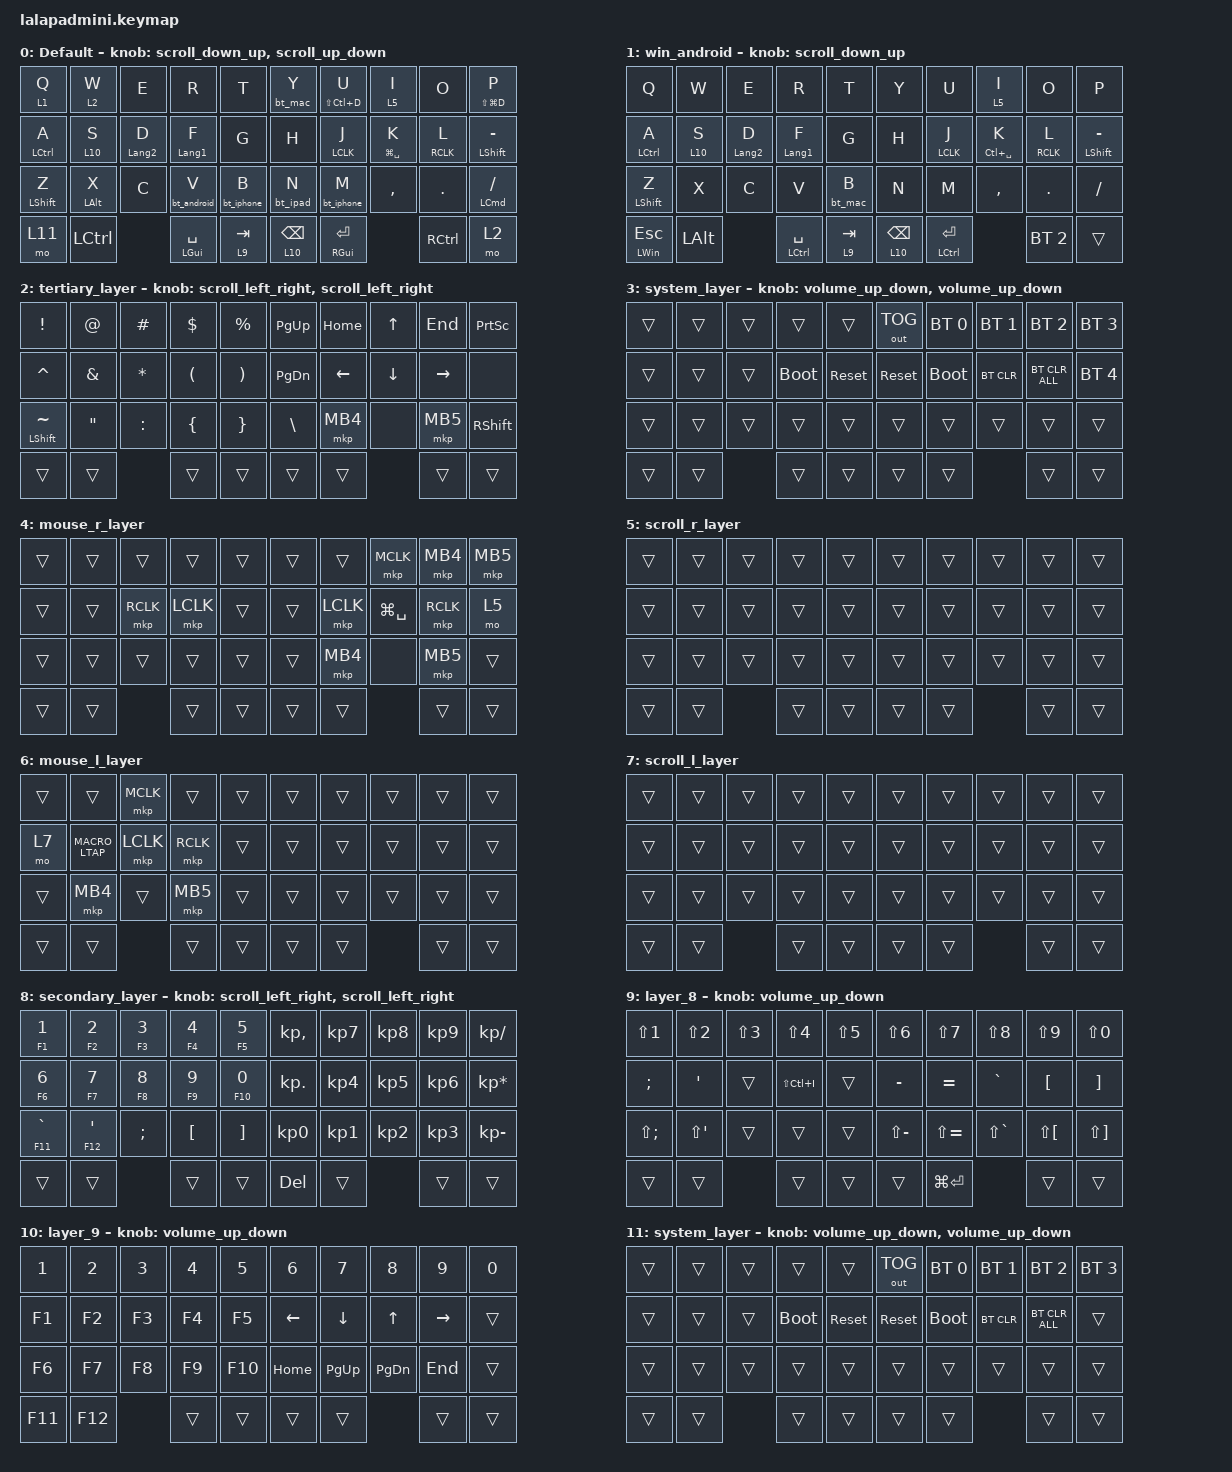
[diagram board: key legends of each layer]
#include <input/processors.dtsi>
#include <behaviors.dtsi>
#include <dt-bindings/zmk/bt.h>
#include <dt-bindings/zmk/keys.h>
#include <dt-bindings/zmk/outputs.h>
#include <dt-bindings/zmk/pointing.h>

#define DEFAULT_LAYER   0
#define SECONDARY_LAYER 1
#define TERTIARY_LAYER  2
#define SYSTEM_LAYER    3
#define MOUSE_R_LAYER   4
#define SCROLL_R_LAYER  5
#define MOUSE_L_LAYER   6
#define SCROLL_L_LAYER  7

// Mouse Scroll Value

#define ZMK_POINTING_DEFAULT_SCRL_VAL 100

// cirque trackpad input&layer control

&glidepoint_listener_R {
    input-processors =
        <&zip_xy_transform (INPUT_TRANSFORM_XY_SWAP | INPUT_TRANSFORM_X_INVERT | INPUT_TRANSFORM_Y_INVERT)>,
        <&zip_xy_scaler 3 2>,
        <&zip_temp_layer MOUSE_R_LAYER 300>;

    lowspeedmode {
        layers = <SECONDARY_LAYER>;
        input-processors =
            <&zip_xy_transform (INPUT_TRANSFORM_XY_SWAP | INPUT_TRANSFORM_X_INVERT | INPUT_TRANSFORM_Y_INVERT)>,
            <&zip_xy_scaler 3 5>,
            <&zip_temp_layer MOUSE_R_LAYER 300>;
    };

    scroller {
        layers = <SCROLL_R_LAYER>;
        input-processors =
            <&zip_xy_to_scroll_mapper>,
            <&zip_scroll_transform (INPUT_TRANSFORM_XY_SWAP | INPUT_TRANSFORM_Y_INVERT)>,
            <&zip_scroll_scaler 1 32>;
    };
};

&glidepoint_listener_L {
    input-processors =
        <&zip_xy_transform (INPUT_TRANSFORM_XY_SWAP | INPUT_TRANSFORM_X_INVERT | INPUT_TRANSFORM_Y_INVERT)>,
        <&zip_xy_scaler 3 2>,
        <&zip_temp_layer MOUSE_L_LAYER 300>;

    lowspeedmode {
        layers = <TERTIARY_LAYER>;
        input-processors =
            <&zip_xy_transform (INPUT_TRANSFORM_XY_SWAP | INPUT_TRANSFORM_X_INVERT | INPUT_TRANSFORM_Y_INVERT)>,
            <&zip_xy_scaler 3 4>,
            <&zip_temp_layer MOUSE_L_LAYER 300>;
    };

    scroller {
        layers = <SCROLL_L_LAYER>;
        input-processors =
            <&zip_xy_to_scroll_mapper>,
            <&zip_scroll_transform (INPUT_TRANSFORM_XY_SWAP | INPUT_TRANSFORM_Y_INVERT)>,
            <&zip_scroll_scaler 1 32>;
    };
};

&mt { quick-tap-ms = <200>; };

&lt { quick-tap-ms = <200>; };

/ {
    behaviors {
        // Encoder to Mouse Scroll

        scroll_up_down: behavior_sensor_rotate_mouse_wheel_up_down {
            compatible = "zmk,behavior-sensor-rotate";
            #sensor-binding-cells = <0>;
            bindings = <&msc SCRL_UP>, <&msc SCRL_DOWN>;

            tap-ms = <20>;
        };

        scroll_down_up: behavior_sensor_rotate_mouse_wheel_down_up {
            compatible = "zmk,behavior-sensor-rotate";
            #sensor-binding-cells = <0>;
            bindings = <&msc SCRL_DOWN>, <&msc SCRL_UP>;

            tap-ms = <20>;
        };

        scroll_left_right: behavior_sensor_rotate_mouse_wheel_left_right {
            compatible = "zmk,behavior-sensor-rotate";
            #sensor-binding-cells = <0>;
            bindings = <&msc SCRL_LEFT>, <&msc SCRL_RIGHT>;

            tap-ms = <20>;
        };

        scroll_right_left: behavior_sensor_rotate_mouse_wheel_right_left {
            compatible = "zmk,behavior-sensor-rotate";
            #sensor-binding-cells = <0>;
            bindings = <&msc SCRL_RIGHT>, <&msc SCRL_LEFT>;

            tap-ms = <20>;
        };

        volume_up_down: behavior_sensor_rotate_volume_up_down {
            compatible = "zmk,behavior-sensor-rotate";
            #sensor-binding-cells = <0>;
            bindings = <&kp C_VOLUME_UP>, <&kp C_VOLUME_DOWN>;

            tap-ms = <20>;
        };

        mt2: mod_tap2 {
            compatible = "zmk,behavior-hold-tap";
            #binding-cells = <2>;
            flavor = "tap-preferred";
            tapping-term-ms = <200>;
            quick-tap-ms = <200>;
            require-prior-idle-ms = <125>;
            bindings = <&kp>, <&kp>;
        };

        tap_dance_layer_1and2: tap_dance_layer_1and2 {
            compatible = "zmk,behavior-tap-dance";
            label = "td_mo12";
            #binding-cells = <0>;
            bindings = <&mo 9>, <&mo 2>;
        };

        mkp2: mkp2 {
            compatible = "zmk,behavior-hold-tap";
            #binding-cells = <2>;
            flavor = "tap-preferred";
            tapping-term-ms = <200>;
            quick-tap-ms = <200>;
            require-prior-idle-ms = <125>;
            bindings = <&mkp>, <&kp>;

            label = "MKP2";
        };

        volume: volume {
            compatible = "zmk,behavior-sensor-rotate";
            label = "VOLUME";
            #sensor-binding-cells = <0>;
            bindings = <&kp C_VOL_DN>, <&kp C_VOLUME_UP>;

            tap-ms = <20>;
        };

        bt_kp_mac: bt_kp_mac {
            compatible = "zmk,behavior-hold-tap";
            #binding-cells = <2>;
            flavor = "tap-preferred";
            tapping-term-ms = <200>;
            quick-tap-ms = <200>;
            require-prior-idle-ms = <125>;
            bindings = <&bt_mac>, <&kp>;

            label = "BT_KP_MAC";
        };

        bt_kp_win: bt_kp_win {
            compatible = "zmk,behavior-hold-tap";
            #binding-cells = <2>;
            flavor = "tap-preferred";
            tapping-term-ms = <200>;
            quick-tap-ms = <200>;
            require-prior-idle-ms = <125>;
            bindings = <&bt_iphone>, <&kp>;

            label = "BT_KP_WIN";
        };

        bt_kp_and: bt_kp_and {
            compatible = "zmk,behavior-hold-tap";
            #binding-cells = <2>;
            flavor = "tap-preferred";
            tapping-term-ms = <200>;
            quick-tap-ms = <200>;
            require-prior-idle-ms = <125>;
            bindings = <&bt_android>, <&kp>;

            label = "BT_KP_AND";
        };

        nob_page: nob_page {
            compatible = "zmk,behavior-sensor-rotate";
            #sensor-binding-cells = <0>;
            bindings = <&kp PAGE_UP>, <&kp PAGE_DOWN>;

            tap-ms = <20>;
            label = "NOB_PAGE";
        };

        bt_kp_iphone: bt_kp_iphone {
            compatible = "zmk,behavior-hold-tap";
            #binding-cells = <2>;
            flavor = "tap-preferred";
            tapping-term-ms = <200>;
            quick-tap-ms = <200>;
            require-prior-idle-ms = <125>;
            bindings = <&bt_iphone>, <&kp>;

            label = "BT_KP_IPHONE";
        };

        bt_kp_ipad: bt_kp_ipad {
            compatible = "zmk,behavior-hold-tap";
            #binding-cells = <2>;
            flavor = "tap-preferred";
            tapping-term-ms = <200>;
            quick-tap-ms = <200>;
            require-prior-idle-ms = <125>;
            bindings = <&bt_ipad>, <&kp>;

            label = "BT_KP_IPAD";
        };
    };

    combos {
        compatible = "zmk,combos";

        CONBO_ESC {
            bindings = <&kp ESCAPE>;
            key-positions = <0 1>;
        };

        COMBO_TAB {
            bindings = <&kp TAB>;
            key-positions = <10 11>;
        };

        COMBO_WIN {
            bindings = <&kp LWIN>;
            key-positions = <30 31>;
        };

        drag {
            bindings = <&kp LS(LC(D))>;
            key-positions = <35 34>;
        };
    };

    macros {
        MACRO_LTAP: MACRO_LTAP {
            compatible = "zmk,behavior-macro";
            #binding-cells = <0>;
            bindings = <&mkp LCLK>;
            label = "MACRO_LTAP";
        };

        bt_mac: bt_mac {
            compatible = "zmk,behavior-macro";
            #binding-cells = <0>;
            bindings = <&bt BT_SEL 0 &to 0>;
            label = "BT_MAC";
        };

        bt_iphone: bt_win {
            compatible = "zmk,behavior-macro";
            #binding-cells = <0>;
            bindings = <&bt BT_SEL 2 &to 0>;
            label = "BT_WIN";
        };

        bt_android: bt_android {
            compatible = "zmk,behavior-macro";
            #binding-cells = <0>;
            bindings = <&bt BT_SEL 3 &to 1>;
            label = "BT_ANDROID";
        };

        bt_ipad: bt_ipad {
            compatible = "zmk,behavior-macro";
            #binding-cells = <0>;
            bindings = <&bt BT_SEL 1 &to 0>;
            label = "BT_IPAD";
        };
    };

    keymap {
        compatible = "zmk,keymap";

        DEFAULT_LAYER {
            display-name = "Default";
            sensor-bindings = <&scroll_down_up>, <&scroll_up_down>;

            bindings = <
&lt 1 Q            &lt 2 W          &kp E              &kp R                &kp T           &bt_kp_mac 0 Y    &mt2 LS(LC(D)) U      &lt 5 I           &kp O         &mt2 LS(LG(D)) P
&mt2 LCTRL A       &lt 10 S         &mt2 LANGUAGE_2 D  &mt2 LANGUAGE_1 F    &kp G           &kp H             &mkp2 LCLK J          &mt2 LG(SPACE) K  &mkp2 RCLK L  &mt2 LEFT_SHIFT MINUS
&mt2 LEFT_SHIFT Z  &mt2 LEFT_ALT X  &kp C              &bt_kp_and 0 V       &bt_kp_win 0 B  &bt_kp_ipad 0 N   &bt_kp_iphone 0 M     &kp COMMA         &kp PERIOD    &mt LCMD SLASH
&mo 11             &kp LCTRL                           &mt2 LEFT_GUI SPACE  &lt 9 TAB       &lt 10 BACKSPACE  &mt2 RIGHT_GUI ENTER                    &kp RCTRL     &mo 2
            >;
        };

        win_android {
            bindings = <
&kp Q                 &kp W     &kp E              &kp R                    &kp T           &kp Y             &kp U             &lt 5 I           &kp O         &kp P
&mt2 LCTRL A          &lt 10 S  &mt2 LANGUAGE_2 D  &mt2 LANGUAGE_1 F        &kp G           &kp H             &mkp2 LCLK J      &mt2 LC(SPACE) K  &mkp2 RCLK L  &mt2 LEFT_SHIFT MINUS
&mt2 LEFT_SHIFT Z     &kp X     &kp C              &kp V                    &bt_kp_mac 0 B  &kp N             &kp M             &kp COMMA         &kp DOT       &kp FSLH
&mt2 LEFT_WIN ESCAPE  &kp LALT                     &mt2 LEFT_CONTROL SPACE  &lt 9 TAB       &lt 10 BACKSPACE  &mt2 LCTRL ENTER                    &bt BT_SEL 2  &trans
            >;

            sensor-bindings = <&scroll_down_up>;
        };

        TERTIARY_LAYER {
            display-name = "tertiary_layer";
            bindings = <
&kp EXCLAMATION       &kp AT_SIGN        &kp HASH      &kp DOLLAR            &kp PERCENT            &kp PAGE_UP    &kp HOME  &kp UP_ARROW  &kp END    &kp PRINTSCREEN
&kp CARET             &kp AMPERSAND      &kp ASTERISK  &kp LEFT_PARENTHESIS  &kp RIGHT_PARENTHESIS  &kp PAGE_DOWN  &kp LEFT  &kp DOWN      &kp RIGHT  &none
&mt LEFT_SHIFT TILDE  &kp DOUBLE_QUOTES  &kp COLON     &kp LEFT_BRACE        &kp RIGHT_BRACE        &kp BACKSLASH  &mkp MB4  &none         &mkp MB5   &kp RIGHT_SHIFT
&trans                &trans                           &trans                &trans                 &trans         &trans                  &trans     &trans
            >;

            sensor-bindings = <&scroll_left_right>, <&scroll_left_right>;
        };

        SYSTEM_LAYER {
            display-name = "system_layer";
            sensor-bindings = <&volume_up_down>, <&volume_up_down>;

            bindings = <
&trans  &trans  &trans  &trans       &trans      &out OUT_TOG  &bt BT_SEL 0  &bt BT_SEL 1  &bt BT_SEL 2    &bt BT_SEL 3
&trans  &trans  &trans  &bootloader  &sys_reset  &sys_reset    &bootloader   &bt BT_CLR    &bt BT_CLR_ALL  &bt BT_SEL 4
&trans  &trans  &trans  &trans       &trans      &trans        &trans        &trans        &trans          &trans
&trans  &trans          &trans       &trans      &trans        &trans                      &trans          &trans
            >;
        };

        MOUSE_R_LAYER {
            display-name = "mouse_r_layer";
            bindings = <
&trans  &trans  &trans     &trans     &trans  &trans  &trans     &mkp MCLK      &mkp MB4   &mkp MB5
&trans  &trans  &mkp RCLK  &mkp LCLK  &trans  &trans  &mkp LCLK  &kp LG(SPACE)  &mkp RCLK  &mo 5
&trans  &trans  &trans     &trans     &trans  &trans  &mkp MB4   &none          &mkp MB5   &trans
&trans  &trans             &trans     &trans  &trans  &trans                    &trans     &trans
            >;
        };

        SCROLL_R_LAYER {
            display-name = "scroll_r_layer";
            bindings = <
&trans  &trans  &trans  &trans  &trans  &trans  &trans  &trans  &trans  &trans
&trans  &trans  &trans  &trans  &trans  &trans  &trans  &trans  &trans  &trans
&trans  &trans  &trans  &trans  &trans  &trans  &trans  &trans  &trans  &trans
&trans  &trans          &trans  &trans  &trans  &trans          &trans  &trans
            >;
        };

        MOUSE_L_LAYER {
            display-name = "mouse_l_layer";
            bindings = <
&trans  &trans       &mkp MCLK  &trans     &trans  &trans  &trans  &trans  &trans  &trans
&mo 7   &MACRO_LTAP  &mkp LCLK  &mkp RCLK  &trans  &trans  &trans  &trans  &trans  &trans
&trans  &mkp MB4     &trans     &mkp MB5   &trans  &trans  &trans  &trans  &trans  &trans
&trans  &trans                  &trans     &trans  &trans  &trans          &trans  &trans
            >;
        };

        SCROLL_L_LAYER {
            display-name = "scroll_l_layer";
            bindings = <
&trans  &trans  &trans  &trans  &trans  &trans  &trans  &trans  &trans  &trans
&trans  &trans  &trans  &trans  &trans  &trans  &trans  &trans  &trans  &trans
&trans  &trans  &trans  &trans  &trans  &trans  &trans  &trans  &trans  &trans
&trans  &trans          &trans  &trans  &trans  &trans          &trans  &trans
            >;
        };

        SECONDARY_LAYER {
            display-name = "secondary_layer";
            sensor-bindings = <&scroll_left_right>, <&scroll_left_right>;

            bindings = <
&mt2 F1 NUMBER_1  &mt2 F2 NUMBER_2  &mt2 F3 NUMBER_3  &mt2 F4 NUMBER_4  &mt2 F5 N5         &kp KP_COMMA     &kp KP_NUMBER_7  &kp KP_NUMBER_8  &kp KP_NUMBER_9  &kp KP_DIVIDE
&mt2 F6 NUMBER_6  &mt2 F7 N7        &mt2 F8 N8        &mt2 F9 N9        &mt2 F10 N0        &kp KP_DOT       &kp KP_NUMBER_4  &kp KP_NUMBER_5  &kp KP_NUMBER_6  &kp KP_ASTERISK
&mt2 F11 GRAVE    &mt2 F12 SQT      &kp SEMICOLON     &kp LEFT_BRACKET  &kp RIGHT_BRACKET  &kp KP_NUMBER_0  &kp KP_NUMBER_1  &kp KP_NUMBER_2  &kp KP_NUMBER_3  &kp KP_MINUS
&trans            &trans                              &trans            &trans             &kp DELETE       &trans                            &trans           &trans
            >;
        };

        layer_8 {
            bindings = <
&kp LS(N1)    &kp LS(N2)    &kp LS(N3)  &kp LS(N4)     &kp LS(N5)  &kp LS(N6)     &kp LS(N7)     &kp LS(N8)     &kp LS(N9)    &kp LS(N0)
&kp SEMI      &kp APOS      &trans      &kp LS(LC(I))  &trans      &kp MINUS      &kp EQUAL      &kp GRAVE      &kp LBKT      &kp RBKT
&kp LS(SEMI)  &kp LS(APOS)  &trans      &trans         &trans      &kp LS(MINUS)  &kp LS(EQUAL)  &kp LS(GRAVE)  &kp LS(LBKT)  &kp LS(RBKT)
&trans        &trans                    &trans         &trans      &trans         &kp LG(ENTER)                 &trans        &trans
            >;

            sensor-bindings = <&volume_up_down>;
        };

        layer_9 {
            bindings = <
&kp N1   &kp N2   &kp N3  &kp N4  &kp N5   &kp N6          &kp N7          &kp N8        &kp N9           &kp N0
&kp F1   &kp F2   &kp F3  &kp F4  &kp F5   &kp LEFT_ARROW  &kp DOWN_ARROW  &kp UP_ARROW  &kp RIGHT_ARROW  &trans
&kp F6   &kp F7   &kp F8  &kp F9  &kp F10  &kp HOME        &kp PG_UP       &kp PG_DN     &kp END          &trans
&kp F11  &kp F12          &trans  &trans   &trans          &trans                        &trans           &trans
            >;

            sensor-bindings = <&volume_up_down>;
        };

        layer_11 {
            display-name = "system_layer";
            bindings = <
&trans  &trans  &trans  &trans       &trans      &out OUT_TOG  &bt BT_SEL 0  &bt BT_SEL 1  &bt BT_SEL 2    &bt BT_SEL 3
&trans  &trans  &trans  &bootloader  &sys_reset  &sys_reset    &bootloader   &bt BT_CLR    &bt BT_CLR_ALL  &trans
&trans  &trans  &trans  &trans       &trans      &trans        &trans        &trans        &trans          &trans
&trans  &trans          &trans       &trans      &trans        &trans                      &trans          &trans
            >;

            sensor-bindings = <&volume_up_down>, <&volume_up_down>;
        };
    };

    conditional_layers {
        compatible = "zmk,conditional-layers";

        System_layer {
            if-layers = <9 2>;
            then-layer = <3>;
        };
    };
};
